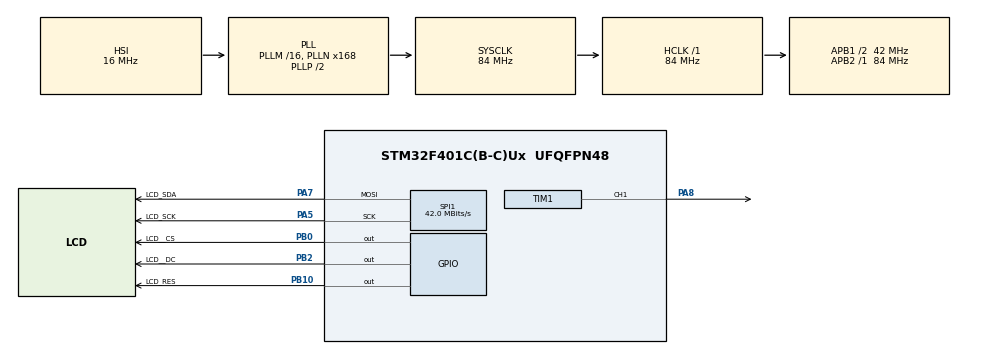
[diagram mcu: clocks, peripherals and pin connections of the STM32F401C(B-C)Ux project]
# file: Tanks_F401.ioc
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Dma.Request0=SPI1_TX
Dma.SPI1_TX.0.Direction=DMA_MEMORY_TO_PERIPH
Dma.SPI1_TX.0.FIFOMode=DMA_FIFOMODE_DISABLE
Dma.SPI1_TX.0.Instance=DMA2_Stream3
Dma.SPI1_TX.0.MemDataAlignment=DMA_MDATAALIGN_BYTE
Dma.SPI1_TX.0.MemInc=DMA_MINC_ENABLE
Dma.SPI1_TX.0.Mode=DMA_NORMAL
Dma.SPI1_TX.0.PeriphDataAlignment=DMA_PDATAALIGN_BYTE
Dma.SPI1_TX.0.PeriphInc=DMA_PINC_DISABLE
Dma.SPI1_TX.0.Priority=DMA_PRIORITY_LOW
Mcu.Family=STM32F4
Mcu.Name=STM32F401C(B-C)Ux
Mcu.Package=UFQFPN48
NVIC.DMA2_Stream3_IRQn=true\:0\:0\:false\:false\:true\:false\:true\:true
NVIC.PriorityGroup=NVIC_PRIORITYGROUP_4
PA5.GPIO_Label=LCD_SCK
PA5.Mode=TX_Only_Simplex_Unidirect_Master
PA5.Signal=SPI1_SCK
PA7.GPIO_Label=LCD_SDA
PA7.Mode=TX_Only_Simplex_Unidirect_Master
PA7.Signal=SPI1_MOSI
PA8.Signal=S_TIM1_CH1
PB0.GPIO_Label=LCD__CS
PB0.Signal=GPIO_Output
PB10.GPIO_Label=LCD_RES
PB10.Signal=GPIO_Output
PB2.GPIO_Label=LCD__DC
PB2.Signal=GPIO_Output
ProjectManager.HeapSize=0x200
ProjectManager.StackSize=0x1800
ProjectManager.TargetToolchain=CMake
RCC.48MHZClocksFreq_Value=42000000
RCC.AHBFreq_Value=84000000
RCC.APB1CLKDivider=RCC_HCLK_DIV2
RCC.APB1Freq_Value=42000000
RCC.APB1TimFreq_Value=84000000
RCC.APB2Freq_Value=84000000
RCC.APB2TimFreq_Value=84000000
RCC.CortexFreq_Value=84000000
RCC.HCLKFreq_Value=84000000
RCC.HSE_VALUE=25000000
RCC.HSI_VALUE=16000000
RCC.LSE_VALUE=32768
RCC.PLLN=168
RCC.SYSCLKFreq_VALUE=84000000
RCC.SYSCLKSource=RCC_SYSCLKSOURCE_PLLCLK
RCC.VCOOutputFreq_Value=168000000
SH.S_TIM1_CH1.0=TIM1_CH1,PWM Generation1 CH1
SPI1.CLKPhase=SPI_PHASE_2EDGE
SPI1.CLKPolarity=SPI_POLARITY_HIGH
SPI1.CalculateBaudRate=42.0 MBits/s
SPI1.Direction=SPI_DIRECTION_2LINES
SPI1.Mode=SPI_MODE_MASTER
SPI1.VirtualType=VM_MASTER
TIM1.Channel-PWM\ Generation1\ CH1=TIM_CHANNEL_1
VP_TIM1_VS_ClockSourceINT.Mode=Internal
board=custom

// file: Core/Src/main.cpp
/* USER CODE BEGIN Header */
/**
  ******************************************************************************
  * @file           : main.c
  * @brief          : Main program body
  ******************************************************************************
  * @attention
  *
  * Copyright (c) 2026 STMicroelectronics.
  * All rights reserved.
  *
  * This software is licensed under terms that can be found in the LICENSE file
  * in the root directory of this software component.
  * If no LICENSE file comes with this software, it is provided AS-IS.
  *
  ******************************************************************************
  */
/* USER CODE END Header */
#include "main.h"
#include "dma.h"
#include "spi.h"
#include "tim.h"
#include "gpio.h"

/* USER CODE BEGIN Includes */
#include "game.hpp"
#include "st7789.hpp"
#include "assets.hpp" /* disp_clear_240x16, the CLEAR_IMG of the instantiation below */
/* USER CODE END Includes */

void SystemClock_Config(void);

/* USER CODE BEGIN 0 */
/* The boot-clear strip asset lives in Game assets.cpp (disp_clear_240x16,
 * defined under STM32F401xC); the instantiation below takes its address
 * as CLEAR_IMG. CLEAR_ROWS 16 = 15 prints per init, one DMA engagement
 * per print. */
/* USER CODE END 0 */

int main(void)
{

  /* MCU Configuration--------------------------------------------------------*/

  /* Reset of all peripherals, Initializes the Flash interface and the Systick. */
  HAL_Init();

  /* USER CODE BEGIN Init */
  /* Flash prefetch: 84 MHz from HSI-PLL requires 2 WS; with the
   * prefetch buffer enabled the 32-bit flash line streams ahead of
   * the fetch so sequential code (the boot init and the frame loop)
   * is not slowed by the wait states. Off by default in HAL_Init -
   * the fallback is the matching DISABLE line. */
  __HAL_FLASH_PREFETCH_BUFFER_ENABLE();
  /* USER CODE END Init */

  /* Configure the system clock */
  SystemClock_Config();

  /* Initialize all configured peripherals */
  MX_GPIO_Init();
  MX_DMA_Init();
  MX_SPI1_Init();
  MX_TIM1_Init();
  /* USER CODE BEGIN 2 */
  /* The display of this platform: SPI1, the size is st_240x240, the
   * orientation is the same as the old default config had (rotation 1:
   * MY|MV, X shift 80). The module has no CS line wired - the cs_*
   * parameters are 0, RES is wired (PB10).
   *
   * The wiring is the template parameter list now: the ports as the
   * raw GPIOB_BASE integer addresses, the handle as a real pointer NTP
   * (&hspi1), pins as GPIO_PIN_n. The MY|MV flags fold the MADCTL byte
   * and swap the geometry sides (y_s 80 -> x_s 80) - everything is
   * compile-time. */
  using Lc = ST7789<&hspi1,
         GPIOB_BASE, LCD__DC_Pin,        /* DC: PB2 */
         0,          0,          false,  /* the module has CS tied to GND */
         GPIOB_BASE, LCD_RES_Pin,        /* RST: PB10 */
         st_240x240,
         true, false, true, false,       /* MY | MX | MV | BGR */
         &disp_clear_240x16[0], 16>;     /* boot-clear strip: 240x16, 15 prints */

  Lc lcd;

  /* The Game is typed to this exact driver instantiation: the pools
   * blit through its static print path, the lifecycle goes to this
   * object. */
  GameT<Lc> game(lcd);

  /* Panel backlight: PWM on TIM1_CH1, as the old ST7789_Init did. */
  HAL_TIM_PWM_Start(&htim1, TIM_CHANNEL_1);
  HAL_TIMEx_PWMN_Start(&htim1, TIM_CHANNEL_1);

  game.init();
  /* USER CODE END 2 */

  /* Infinite loop */
  /* USER CODE BEGIN WHILE */
  while (1)
  {
    HAL_Delay(15);

    game.loop();
    /* USER CODE END WHILE */

    /* USER CODE BEGIN 3 */
  }
  return 0;
  /* USER CODE END 3 */
}

void SystemClock_Config(void)
{
  RCC_OscInitTypeDef RCC_OscInitStruct = {0};
  RCC_ClkInitTypeDef RCC_ClkInitStruct = {0};

  /** Configure the main internal regulator output voltage
  */
  __HAL_RCC_PWR_CLK_ENABLE();
  __HAL_PWR_VOLTAGESCALING_CONFIG(PWR_REGULATOR_VOLTAGE_SCALE2);

  /** Initializes the RCC Oscillators according to the specified parameters
  * in the RCC_OscInitTypeDef structure.
  */
  RCC_OscInitStruct.OscillatorType = RCC_OSCILLATORTYPE_HSI;
  RCC_OscInitStruct.HSIState = RCC_HSI_ON;
  RCC_OscInitStruct.HSICalibrationValue = RCC_HSICALIBRATION_DEFAULT;
  RCC_OscInitStruct.PLL.PLLState = RCC_PLL_ON;
  RCC_OscInitStruct.PLL.PLLSource = RCC_PLLSOURCE_HSI;
  RCC_OscInitStruct.PLL.PLLM = 16;
  RCC_OscInitStruct.PLL.PLLN = 168;
  RCC_OscInitStruct.PLL.PLLP = RCC_PLLP_DIV2;
  RCC_OscInitStruct.PLL.PLLQ = 4;
  if (HAL_RCC_OscConfig(&RCC_OscInitStruct) != HAL_OK)
  {
    Error_Handler();
  }

  /** Initializes the CPU, AHB and APB buses clocks
  */
  RCC_ClkInitStruct.ClockType = RCC_CLOCKTYPE_HCLK|RCC_CLOCKTYPE_SYSCLK
                              |RCC_CLOCKTYPE_PCLK1|RCC_CLOCKTYPE_PCLK2;
  RCC_ClkInitStruct.SYSCLKSource = RCC_SYSCLKSOURCE_PLLCLK;
  RCC_ClkInitStruct.AHBCLKDivider = RCC_SYSCLK_DIV1;
  RCC_ClkInitStruct.APB1CLKDivider = RCC_HCLK_DIV2;
  RCC_ClkInitStruct.APB2CLKDivider = RCC_HCLK_DIV1;

  if (HAL_RCC_ClockConfig(&RCC_ClkInitStruct, FLASH_LATENCY_2) != HAL_OK)
  {
    Error_Handler();
  }
}

void Error_Handler(void)
{
  __disable_irq();
  while (1)
  {
  }
}
